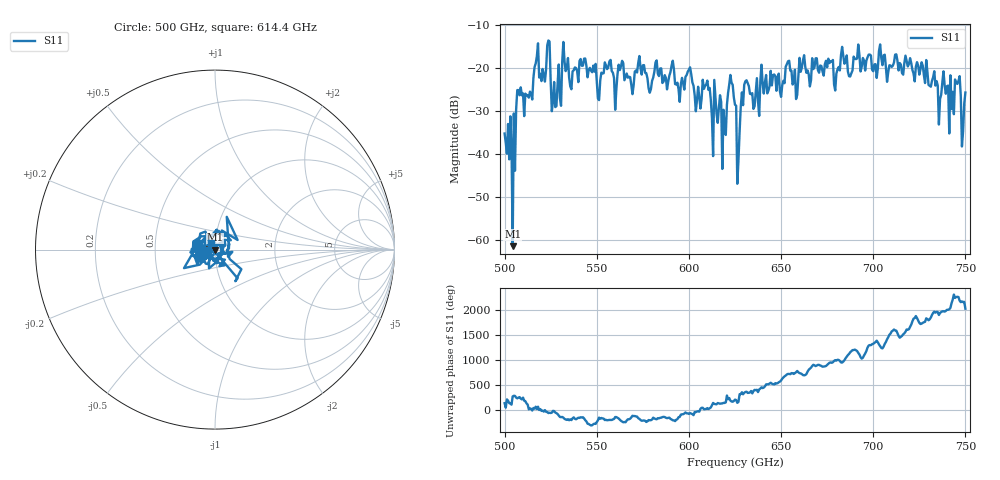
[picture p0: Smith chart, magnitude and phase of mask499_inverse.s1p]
!Created with skrf (http://scikit-rf.org).
# GHz S MA R 50.0
!freq magS11 angS11
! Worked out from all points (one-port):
!   401 points, 500 GHz to 750 GHz, reference 50 ohm
!   lowest |S11| = -61.5 dB at 504.4 GHz (marker M1), VSWR 1.00, Z = 50 - j0.0838 ohm
!   |S11| at or under -10 dB: start of sweep to end of sweep
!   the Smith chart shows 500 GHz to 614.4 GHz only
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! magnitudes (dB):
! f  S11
! 500 GHz  -35.3
! 504.4 GHz  -61.5
! 507.5 GHz  -25.1
! 513.8 GHz  -25.5
! 516.9 GHz  -18.9
! 520.6 GHz  -20.2
! 523.8 GHz  -13.6
! 526.9 GHz  -23.3
! 531.2 GHz  -18.5
! 542.5 GHz  -19.4
! 551.2 GHz  -27.5
! 562.5 GHz  -20.5
! 578.8 GHz  -25.8
! 590.6 GHz  -19.3
! 593.8 GHz  -23.4
! 610 GHz  -22.9
! 619.4 GHz  -33.6
! 622.5 GHz  -21.6
! 625 GHz  -28.5
! 626.9 GHz  -41.5
! 631.2 GHz  -22.9
! 636.9 GHz  -22.4
! 656.2 GHz  -23.8
! 680 GHz  -21.3
! 683.8 GHz  -17.2
! 687.5 GHz  -22.0
! 718.8 GHz  -19.6
! 750 GHz  -25.7
